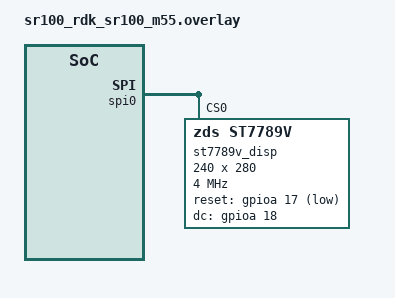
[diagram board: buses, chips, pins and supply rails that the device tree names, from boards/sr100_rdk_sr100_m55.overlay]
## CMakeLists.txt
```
cmake_minimum_required(VERSION 3.20.0)

# Custom "zds,st7789v" devicetree binding (same as Lab 11/12/13/14/15) --
# DTS_ROOT must be extended BEFORE find_package(Zephyr...) runs, or the
# devicetree compiler won't find it.
list(APPEND DTS_ROOT ${CMAKE_CURRENT_SOURCE_DIR})

find_package(Zephyr REQUIRED HINTS $ENV{ZEPHYR_BASE})
project(lab16_capstone_host)

target_sources(app PRIVATE src/main.c)
target_include_directories(app PRIVATE include)
```

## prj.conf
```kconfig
CONFIG_MBOX=y
CONFIG_SPI=y
CONFIG_GPIO=y
# No CONFIG_DISPLAY / CONFIG_CHARACTER_FRAMEBUFFER / CONFIG_ST7789V -- same
# raw-SPI approach as Lab 11/12/13/14/15 (see Lab 11's prj.conf comment).
CONFIG_MAIN_STACK_SIZE=4096
# ns16550_uart1 (M55's only UART/console) is disabled in the devicetree
# overlay because SPI0 reuses its pins -- see Lab 11's prj.conf comment
# for why CONFIG_UART_CONSOLE=n/CONFIG_CONSOLE=n (and NOT CONFIG_SERIAL=n)
# is the correct fix. M55 never sends console commands in this lab -- all
# operator commands are M4-local or M4-triggered (see remote/src/main.c).
CONFIG_UART_CONSOLE=n
CONFIG_CONSOLE=n
CONFIG_LOG=y
CONFIG_LOG_DEFAULT_LEVEL=3
CONFIG_PRINTK=y
```

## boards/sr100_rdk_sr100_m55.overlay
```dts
#include <zephyr/dt-bindings/gpio/gpio.h>

/* Lab 16 reuses this TFT wiring UNCHANGED from Lab 11/12/13/14/15 -- no new
 * hardware. M55's only job in this lab is drawing the combined ENV/MOTION/
 * WATCHDOG/STATUS state on the same ST7789V3 panel on SPI0. */

/* ipc0 shared-memory-size must match the M4 overlay in remote/boards/ exactly. */
&ipc0 {
	shared-memory-size = <0x400>;
};

/*
 * M4/M55 physically share the &i2c1 bus (mc3479, gpio_exp0). M4 owns it in
 * this lab (Motion_Task), so M55 disables it -- same reasoning as every
 * earlier lab since Lab 01.
 */
&i2c1 {
	status = "disabled";
};

&gpio_exp0 {
	status = "disabled";
};

&ov02c10 {
	status = "disabled";
};

/*
 * ST7789V3 1.69" 240x280 color TFT on M55's SPI0 -- identical setup to
 * Lab 11/12/13/14/15 (same panel, same wiring, same raw-SPI "zds,st7789v"
 * custom binding). See Lab 11's doc for the full rationale (why raw SPI
 * instead of Zephyr's in-tree display driver, the level-shifter
 * requirement, the SPI0 FIFO chunking, and the SPI0/UART1 console pin
 * conflict this creates).
 */
&ns16550_uart1 {
	status = "disabled";
};

&spi0 {
	#address-cells = <1>;
	#size-cells = <0>;
	status = "okay";
	pinctrl-0 = <&spi_mstr_mosi &spi_mstr_miso &spi_mstr_clk &spi_mstr_cs>;
	pinctrl-names = "default";

	st7789v_disp: st7789v@0 {
		compatible = "zds,st7789v";
		reg = <0>;
		spi-max-frequency = <4000000>;
		reset-gpios = <&gpioa 17 GPIO_ACTIVE_LOW>;  /* SoC GPIO17, J24 pin 3 - through level shifter */
		dc-gpios = <&gpioa 18 GPIO_ACTIVE_HIGH>;    /* SoC GPIO18, J24 pin 4 - through level shifter */
		width = <240>;
		height = <280>;
		x-offset = <0>;
		y-offset = <20>;
	};
};
```

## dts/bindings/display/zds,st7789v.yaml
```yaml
description: |
  ZDS custom binding for an ST7789V(3)-driven SPI TFT panel, talked to
  directly by application code (no Zephyr in-tree display driver is
  used). This node only exists so the panel's wiring (SPI bus/CS,
  reset pin, D/C pin) and panel geometry live in the devicetree where
  they belong, instead of being hardcoded in C.

compatible: "zds,st7789v"

include: spi-device.yaml

properties:
  reset-gpios:
    type: phandle-array
    required: true
    description: Panel RESET pin (active low - asserting it holds the
      controller in reset).

  dc-gpios:
    type: phandle-array
    required: true
    description: Data/Command select pin (active high = data byte(s)
      follow, inactive = command byte follows).

  width:
    type: int
    default: 240
    description: Visible panel width in pixels.

  height:
    type: int
    default: 280
    description: Visible panel height in pixels.

  x-offset:
    type: int
    default: 0
    description: Horizontal offset into the ST7789's native 240x320
      GRAM. Needed because many small ST7789 panels (this 1.69"
      240x280 module included) only use a centered sub-window of the
      controller's full addressable memory.

  y-offset:
    type: int
    default: 20
    description: Vertical offset into the ST7789's native 240x320
      GRAM. 20 is the commonly documented value for 1.69" 240x280
      ST7789V3 modules; adjust if your specific module's datasheet
      says otherwise.
```

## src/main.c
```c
/*
 * Lab 16: Capstone Gateway (HOST, M55)
 *
 * Same ST7789V3 TFT hardware/raw-SPI driver as Lab 11/12/13/14/15 -- see
 * this lab's doc for the full pin table and level-shifter rationale.
 *
 * A single Sync_Task both dispatches M4's tagged-union messages (updating
 * the TFT for IPC16_MSG_ENV / IPC16_MSG_MOTION / IPC16_MSG_STATUS) AND runs
 * a Lab-14-style watchdog state machine driven by IPC16_MSG_HEARTBEAT --
 * one thread, one queue, one blocking call handles all four message kinds.
 *
 * WHY A FINITE TIMEOUT HERE, NOT LAB 15's K_FOREVER: Lab 15's Sync_Task
 * blocked forever because that lab's M4 never sent anything unless a
 * threshold had actually crossed -- "no message" carried no meaning, so
 * there was nothing to watch a clock for. This lab is different: M4 sends
 * a heartbeat every 1000ms NO MATTER WHAT (Lab 14's pattern), specifically
 * so M55 CAN watch for its absence. So k_msgq_get() here uses a finite
 * timeout (WATCHDOG_CHECK_PERIOD_MS), exactly Lab 14's reasoning, and the
 * watchdog state machine (WD_WAITING -> WD_OK -> WD_TIMEOUT) is otherwise
 * unchanged from that lab.
 *
 * TRADEOFF WORTH NAMING: this means M55 in this lab does NOT get to sit in
 * Lab 15's deepest "sleep until something happens" wait -- it wakes at
 * least every WATCHDOG_CHECK_PERIOD_MS to check the clock, even during
 * long stretches when nothing else changes. That is the price of adding a
 * safety-supervision heartbeat on top of Lab 15's event-only design: this
 * lab intentionally makes that price visible instead of hiding it, and
 * that tradeoff (deepest possible idle vs. bounded-latency fault
 * detection) is itself one of this capstone's teaching points.
 */

#include <zephyr/kernel.h>
#include <zephyr/device.h>
#include <zephyr/devicetree.h>
#include <zephyr/drivers/spi.h>
#include <zephyr/drivers/gpio.h>
#include <zephyr/drivers/mbox.h>
#include <zephyr/logging/log.h>
#include <zephyr/sys/util.h>
#include <stdbool.h>
#include <stdio.h>
#include <stdlib.h>
#include <string.h>
#include "ipc_common.h"

LOG_MODULE_REGISTER(lab16_host, CONFIG_LOG_DEFAULT_LEVEL);

#define TASK_STACK_SIZE 3072
#define TASK_PRIORITY   4

K_THREAD_STACK_DEFINE(task_stack, TASK_STACK_SIZE);
static struct k_thread task_data;

K_MSGQ_DEFINE(msgq, sizeof(struct ipc16_msg), 8, 4);

/* Heartbeat every 1000ms (see remote/src/main.c). Check twice as often as
 * that so a timeout is detected within one heartbeat period on average,
 * and declare a timeout only after >= 4 heartbeat periods of silence, so a
 * single missed/delayed beacon doesn't false-trip -- same margin ratio as
 * Lab 14 (200ms check / 1200ms timeout against a 300ms heartbeat). */
#define WATCHDOG_CHECK_PERIOD_MS 500
#define WATCHDOG_TIMEOUT_MS      4000

enum wd_state { WD_WAITING, WD_OK, WD_TIMEOUT };

#define DISP_NODE DT_NODELABEL(st7789v_disp)

#define PANEL_WIDTH   DT_PROP(DISP_NODE, width)
#define PANEL_HEIGHT  DT_PROP(DISP_NODE, height)
#define X_OFFSET      DT_PROP(DISP_NODE, x_offset)
#define Y_OFFSET      DT_PROP(DISP_NODE, y_offset)

#define ST7789_SWRESET   0x01
#define ST7789_SLPOUT    0x11
#define ST7789_COLMOD    0x3A
#define ST7789_MADCTL    0x36
#define ST7789_INVON     0x21
#define ST7789_NORON     0x13
#define ST7789_DISPON    0x29
#define ST7789_CASET     0x2A
#define ST7789_RASET     0x2B
#define ST7789_RAMWR     0x2C
#define ST7789_PORCTRL   0xB2
#define ST7789_GCTRL     0xB7
#define ST7789_VCOMS     0xBB
#define ST7789_LCMCTRL   0xC0
#define ST7789_VDVVRHEN  0xC2
#define ST7789_VRHS      0xC3
#define ST7789_VDVS      0xC4
#define ST7789_FRCTRL2   0xC6
#define ST7789_PWCTRL1   0xD0
#define ST7789_PVGAMCTRL 0xE0
#define ST7789_NVGAMCTRL 0xE1

#define COLOR_BLACK   0x0000
#define COLOR_WHITE   0xFFFF
#define COLOR_RED     0xF800
#define COLOR_GREEN   0x07E0
#define COLOR_YELLOW  0xFFE0
#define COLOR_GRAY    0x8410
#define COLOR_ORANGE  0xFD20

static const struct spi_dt_spec spi_spec =
	SPI_DT_SPEC_GET(DISP_NODE, SPI_WORD_SET(8) | SPI_TRANSFER_MSB, 0);
static const struct gpio_dt_spec reset_spec = GPIO_DT_SPEC_GET(DISP_NODE, reset_gpios);
static const struct gpio_dt_spec dc_spec = GPIO_DT_SPEC_GET(DISP_NODE, dc_gpios);

struct glyph {
	char ch;
	uint8_t cols[5];
};

/* Same 5x7 font table as Lab 11/12/13/14/15 -- unchanged. */
static const struct glyph font5x7[] = {
	{' ', {0x00, 0x00, 0x00, 0x00, 0x00}},
	{'-', {0x08, 0x08, 0x08, 0x08, 0x08}},
	{'.', {0x00, 0x60, 0x60, 0x00, 0x00}},
	{':', {0x00, 0x36, 0x36, 0x00, 0x00}},
	{'(', {0x00, 0x1C, 0x22, 0x41, 0x00}},
	{')', {0x00, 0x41, 0x22, 0x1C, 0x00}},
	{'0', {0x3E, 0x51, 0x49, 0x45, 0x3E}},
	{'1', {0x00, 0x42, 0x7F, 0x40, 0x00}},
	{'2', {0x62, 0x51, 0x49, 0x49, 0x46}},
	{'3', {0x22, 0x41, 0x49, 0x49, 0x36}},
	{'4', {0x18, 0x14, 0x12, 0x7F, 0x10}},
	{'5', {0x27, 0x45, 0x45, 0x45, 0x39}},
	{'6', {0x3C, 0x4A, 0x49, 0x49, 0x30}},
	{'7', {0x01, 0x71, 0x09, 0x05, 0x03}},
	{'8', {0x36, 0x49, 0x49, 0x49, 0x36}},
	{'9', {0x06, 0x49, 0x49, 0x29, 0x1E}},
	{'A', {0x7E, 0x11, 0x11, 0x11, 0x7E}},
	{'B', {0x7F, 0x49, 0x49, 0x49, 0x36}},
	{'C', {0x3E, 0x41, 0x41, 0x41, 0x22}},
	{'D', {0x7F, 0x41, 0x41, 0x22, 0x1C}},
	{'E', {0x7F, 0x49, 0x49, 0x49, 0x41}},
	{'G', {0x3E, 0x41, 0x49, 0x49, 0x7A}},
	{'H', {0x7F, 0x08, 0x08, 0x08, 0x7F}},
	{'I', {0x00, 0x41, 0x7F, 0x41, 0x00}},
	{'K', {0x7F, 0x08, 0x14, 0x22, 0x41}},
	{'L', {0x7F, 0x40, 0x40, 0x40, 0x40}},
	{'M', {0x7F, 0x02, 0x0C, 0x02, 0x7F}},
	{'N', {0x7F, 0x02, 0x04, 0x08, 0x7F}},
	{'O', {0x3E, 0x41, 0x41, 0x41, 0x3E}},
	{'P', {0x7F, 0x09, 0x09, 0x09, 0x06}},
	{'Q', {0x3E, 0x41, 0x51, 0x21, 0x5E}},
	{'R', {0x7F, 0x09, 0x19, 0x29, 0x46}},
	{'S', {0x46, 0x49, 0x49, 0x49, 0x31}},
	{'T', {0x01, 0x01, 0x7F, 0x01, 0x01}},
	{'U', {0x3F, 0x40, 0x40, 0x40, 0x3F}},
	{'V', {0x1F, 0x20, 0x40, 0x20, 0x1F}},
	{'W', {0x3F, 0x40, 0x38, 0x40, 0x3F}},
	{'X', {0x63, 0x14, 0x08, 0x14, 0x63}},
	{'Y', {0x07, 0x08, 0x70, 0x08, 0x07}},
	{'Z', {0x61, 0x51, 0x49, 0x45, 0x43}},
};

static const uint8_t *glyph_lookup(char c)
{
	static const uint8_t blank[5] = {0x00, 0x00, 0x00, 0x00, 0x00};

	for (size_t i = 0; i < ARRAY_SIZE(font5x7); i++) {
		if (font5x7[i].ch == c) {
			return font5x7[i].cols;
		}
	}
	return blank;
}

#define ST7789_CHUNK_BYTES 8

static int st7789_send(int dc_value, const uint8_t *data, size_t len)
{
	int ret;

	gpio_pin_set_dt(&dc_spec, dc_value);

	while (len) {
		size_t chunk = MIN(len, ST7789_CHUNK_BYTES);
		struct spi_buf buf = { .buf = (void *)data, .len = chunk };
		struct spi_buf_set set = { .buffers = &buf, .count = 1 };

		ret = spi_write_dt(&spi_spec, &set);
		if (ret) {
			LOG_ERR("spi_write_dt(dc=%d, len=%zu) failed, ret=%d", dc_value, chunk, ret);
			return ret;
		}
		data += chunk;
		len -= chunk;
	}

	return 0;
}

static int st7789_write_cmd(uint8_t cmd)
{
	return st7789_send(0, &cmd, 1);
}

static int st7789_write_data(const uint8_t *data, size_t len)
{
	return st7789_send(1, data, len);
}

static int st7789_reset(void)
{
	int ret = gpio_pin_configure_dt(&reset_spec, GPIO_OUTPUT_INACTIVE);

	if (ret) {
		return ret;
	}
	k_sleep(K_MSEC(10));
	gpio_pin_set_dt(&reset_spec, 1);
	k_sleep(K_MSEC(10));
	gpio_pin_set_dt(&reset_spec, 0);
	k_sleep(K_MSEC(150));

	return 0;
}

struct st7789_init_cmd {
	uint8_t cmd;
	uint8_t num_args;
	uint8_t args[16];
	uint16_t delay_ms;
};

static const struct st7789_init_cmd init_seq[] = {
	{ ST7789_SWRESET,   0, {0}, 150 },
	{ ST7789_SLPOUT,    0, {0}, 255 },
	{ ST7789_COLMOD,    1, {0x55}, 10 },
	{ ST7789_PORCTRL,   5, {0x0C, 0x0C, 0x00, 0x33, 0x33}, 0 },
	{ ST7789_GCTRL,     1, {0x35}, 0 },
	{ ST7789_VCOMS,     1, {0x28}, 0 },
	{ ST7789_LCMCTRL,   1, {0x0C}, 0 },
	{ ST7789_VDVVRHEN,  2, {0x01, 0xFF}, 0 },
	{ ST7789_VRHS,      1, {0x10}, 0 },
	{ ST7789_VDVS,      1, {0x20}, 0 },
	{ ST7789_FRCTRL2,   1, {0x0F}, 0 },
	{ ST7789_PWCTRL1,   2, {0xA4, 0xA1}, 0 },
	{ ST7789_MADCTL,    1, {0x00}, 0 },
	{ ST7789_INVON,     0, {0}, 10 },
	{ ST7789_PVGAMCTRL, 14, {0xD0, 0x00, 0x02, 0x07, 0x0A, 0x28, 0x32, 0x44,
				 0x42, 0x06, 0x0E, 0x12, 0x14, 0x17}, 0 },
	{ ST7789_NVGAMCTRL, 14, {0xD0, 0x00, 0x02, 0x07, 0x05, 0x25, 0x2D, 0x44,
				 0x45, 0x10, 0x0E, 0x12, 0x13, 0x17}, 0 },
	{ ST7789_NORON,     0, {0}, 10 },
	{ ST7789_DISPON,    0, {0}, 100 },
};

static int st7789_init(void)
{
	int ret;

	for (size_t i = 0; i < ARRAY_SIZE(init_seq); i++) {
		ret = st7789_write_cmd(init_seq[i].cmd);
		if (ret) return ret;

		if (init_seq[i].num_args) {
			ret = st7789_write_data(init_seq[i].args, init_seq[i].num_args);
			if (ret) return ret;
		}
		if (init_seq[i].delay_ms) {
			k_sleep(K_MSEC(init_seq[i].delay_ms));
		}
	}

	return 0;
}

static int st7789_set_addr_window(uint16_t x0, uint16_t y0, uint16_t x1, uint16_t y1)
{
	uint16_t xs = x0 + X_OFFSET, xe = x1 + X_OFFSET;
	uint16_t ys = y0 + Y_OFFSET, ye = y1 + Y_OFFSET;
	uint8_t caset[4] = { xs >> 8, xs & 0xFF, xe >> 8, xe & 0xFF };
	uint8_t raset[4] = { ys >> 8, ys & 0xFF, ye >> 8, ye & 0xFF };
	int ret;

	ret = st7789_write_cmd(ST7789_CASET);
	if (ret) return ret;
	ret = st7789_write_data(caset, sizeof(caset));
	if (ret) return ret;

	ret = st7789_write_cmd(ST7789_RASET);
	if (ret) return ret;
	ret = st7789_write_data(raset, sizeof(raset));
	if (ret) return ret;

	return st7789_write_cmd(ST7789_RAMWR);
}

static int st7789_fill_rect(uint16_t x, uint16_t y, uint16_t w, uint16_t h, uint16_t color)
{
	uint8_t row[PANEL_WIDTH * 2];
	int ret;

	ret = st7789_set_addr_window(x, y, x + w - 1, y + h - 1);
	if (ret) return ret;

	for (uint16_t i = 0; i < w; i++) {
		row[i * 2] = color >> 8;
		row[i * 2 + 1] = color & 0xFF;
	}

	for (uint16_t line = 0; line < h; line++) {
		ret = st7789_write_data(row, (size_t)w * 2);
		if (ret) return ret;
	}

	return 0;
}

static int st7789_draw_char(uint16_t x, uint16_t y, char c, uint16_t fg, uint16_t bg, uint8_t scale)
{
	const uint8_t *glyph = glyph_lookup(c);
	uint8_t row[5 * 8 * 2];
	int ret;

	ret = st7789_set_addr_window(x, y, x + 5 * scale - 1, y + 7 * scale - 1);
	if (ret) return ret;

	for (uint8_t srow = 0; srow < 7; srow++) {
		for (uint8_t scol = 0; scol < 5; scol++) {
			bool on = (glyph[scol] >> srow) & 0x1;
			uint16_t color = on ? fg : bg;

			for (uint8_t sx = 0; sx < scale; sx++) {
				size_t idx = (scol * scale + sx) * 2;

				row[idx] = color >> 8;
				row[idx + 1] = color & 0xFF;
			}
		}
		for (uint8_t sy = 0; sy < scale; sy++) {
			ret = st7789_write_data(row, (size_t)5 * scale * 2);
			if (ret) return ret;
		}
	}

	return 0;
}

static int st7789_draw_string(uint16_t x, uint16_t y, const char *str, uint16_t fg, uint16_t bg, uint8_t scale)
{
	int ret;

	while (*str) {
		ret = st7789_draw_char(x, y, *str++, fg, bg, scale);
		if (ret) return ret;
		x += 6 * scale;
	}
	return 0;
}

static void draw_line(uint16_t x, uint16_t y, const char *text, uint16_t fg, size_t width)
{
	char padded[24];
	size_t len = strlen(text);

	if (width >= sizeof(padded)) {
		width = sizeof(padded) - 1;
	}
	if (len > width) {
		len = width;
	}
	memcpy(padded, text, len);
	for (size_t i = len; i < width; i++) {
		padded[i] = ' ';
	}
	padded[width] = '\0';

	st7789_draw_string(x, y, padded, fg, COLOR_BLACK, 2);
}

static void draw_badge(uint16_t y, uint16_t color, const char *label)
{
	st7789_fill_rect(10, y, 16, 16, color);
	draw_line(34, y, label, COLOR_WHITE, 10);
}

/* ------------------------------------------------------------- sync task */

static void rx_cb(const struct device *dev, mbox_channel_id_t channel_id,
		   void *user_data, struct mbox_msg *data)
{
	struct ipc16_msg msg;

	ARG_UNUSED(dev);
	ARG_UNUSED(channel_id);
	ARG_UNUSED(user_data);

	if (data->size < sizeof(msg)) {
		return;
	}
	memcpy(&msg, data->data, sizeof(msg));

	/* ISR-safe: pure memcpy + k_msgq_put, no drawing here -- same rule as
	 * every mbox callback in this curriculum since Lab 01. */
	k_msgq_put(&msgq, &msg, K_NO_WAIT);
}

static void redraw_watchdog(enum wd_state state, uint32_t trips)
{
	char line[24];

	switch (state) {
	case WD_WAITING:
		draw_badge(180, COLOR_GRAY, "WAIT");
		break;
	case WD_OK:
		draw_badge(180, COLOR_GREEN, "OK");
		break;
	case WD_TIMEOUT:
		draw_badge(180, COLOR_RED, "TIMEOUT");
		break;
	}
	snprintf(line, sizeof(line), "TRIPS:%u", trips);
	draw_line(10, 210, line, COLOR_WHITE, 14);
}

static void sync_task_entry(void *p1, void *p2, void *p3)
{
	struct ipc16_msg msg;
	char line[24];
	enum wd_state wd_state = WD_WAITING;
	uint32_t wd_trips = 0;
	bool wd_ever_seen = false;
	int64_t wd_last_seen_ms = 0;
	uint32_t status_pushes = 0;

	ARG_UNUSED(p1);
	ARG_UNUSED(p2);
	ARG_UNUSED(p3);

	LOG_INF("[Sync_Task] started");

	if (!spi_is_ready_dt(&spi_spec)) {
		LOG_ERR("SPI0 device not ready - check devicetree status/overlay");
		return;
	}
	if (!gpio_is_ready_dt(&reset_spec) || !gpio_is_ready_dt(&dc_spec)) {
		LOG_ERR("RST/DC GPIO controller not ready");
		return;
	}
	if (gpio_pin_configure_dt(&dc_spec, GPIO_OUTPUT_INACTIVE)) {
		LOG_ERR("DC GPIO configure failed");
		return;
	}
	if (st7789_reset()) {
		LOG_ERR("Panel reset failed - check RST wiring");
		return;
	}
	if (st7789_init()) {
		LOG_ERR("ST7789 init failed (SPI write error) - check wiring / level shifter");
		return;
	}

	st7789_fill_rect(0, 0, PANEL_WIDTH, PANEL_HEIGHT, COLOR_BLACK);
	st7789_draw_string(10, 10, "LAB16 CAPSTONE", COLOR_YELLOW, COLOR_BLACK, 2);

	draw_badge(40, COLOR_GRAY, "ENV --");
	draw_line(10, 70, "TEMP:--", COLOR_WHITE, 14);
	draw_badge(100, COLOR_GRAY, "MOTION --");
	draw_line(10, 130, "MAG:--", COLOR_WHITE, 14);
	draw_line(10, 155, "STATUS:none yet", COLOR_WHITE, 20);
	redraw_watchdog(WD_WAITING, 0);

	while (1) {
		/* Finite timeout (see file header comment) -- unlike Lab 15's
		 * K_FOREVER, this lab's M4 sends a heartbeat unconditionally
		 * every 1000ms, so "no message for a while" is meaningful
		 * here and must be actively checked for. */
		int ret = k_msgq_get(&msgq, &msg, K_MSEC(WATCHDOG_CHECK_PERIOD_MS));

		if (ret == 0) {
			switch (msg.type) {
			case IPC16_MSG_ENV: {
				struct ipc16_env_payload *e = &msg.payload.env;
				bool err = e->error_mask != 0;
				uint16_t badge_color = err ? COLOR_ORANGE :
					(e->state == IPC16_ENV_ABOVE ? COLOR_RED : COLOR_GREEN);

				draw_badge(40, badge_color,
					   e->state == IPC16_ENV_ABOVE ? "ENV HIGH" : "ENV OK");
				snprintf(line, sizeof(line), "TEMP:%d.%02dC%s",
					 e->temp_milli_c / 1000, abs(e->temp_milli_c % 1000) / 10,
					 e->from_bmp ? "(bmp)" : "");
				draw_line(10, 70, line, COLOR_WHITE, 14);
				LOG_INF("[Sync_Task] ENV seq=%u temp=%d state=%s err=0x%x",
					e->seq, e->temp_milli_c,
					e->state == IPC16_ENV_ABOVE ? "ABOVE" : "BELOW", e->error_mask);
				break;
			}
			case IPC16_MSG_MOTION: {
				struct ipc16_motion_payload *m = &msg.payload.motion;

				draw_badge(100, m->state == IPC16_MOTION_ACTIVE ? COLOR_RED : COLOR_GREEN,
					   m->state == IPC16_MOTION_ACTIVE ? "MOTION!" : "MOTION OK");
				snprintf(line, sizeof(line), "MAG:%d mg", m->mag_milli_g);
				draw_line(10, 130, line, COLOR_WHITE, 14);
				LOG_INF("[Sync_Task] MOTION seq=%u mag=%d state=%s",
					m->seq, m->mag_milli_g,
					m->state == IPC16_MOTION_ACTIVE ? "ACTIVE" : "QUIET");
				break;
			}
			case IPC16_MSG_HEARTBEAT:
				wd_ever_seen = true;
				wd_last_seen_ms = k_uptime_get();
				if (wd_state != WD_OK) {
					wd_state = WD_OK;
					redraw_watchdog(wd_state, wd_trips);
				}
				LOG_INF("[Sync_Task] HEARTBEAT seq=%u", msg.payload.heartbeat.seq);
				break;
			case IPC16_MSG_STATUS: {
				struct ipc16_status_payload *s = &msg.payload.status;

				status_pushes++;
				snprintf(line, sizeof(line), "STATUS:#%u up=%us",
					 status_pushes, s->uptime_sec);
				draw_line(10, 155, line, COLOR_YELLOW, 20);
				LOG_INF("[Sync_Task] STATUS #%u temp=%d%s env=%s mag=%d motion=%s "
					"hb_seq=%u uptime=%us",
					status_pushes, s->temp_milli_c, s->from_bmp ? "(bmp)" : "",
					s->env_state == IPC16_ENV_ABOVE ? "ABOVE" : "BELOW",
					s->mag_milli_g,
					s->motion_state == IPC16_MOTION_ACTIVE ? "ACTIVE" : "QUIET",
					s->heartbeat_seq, s->uptime_sec);
				break;
			}
			default:
				LOG_WRN("[Sync_Task] unexpected msg type=%u", msg.type);
				break;
			}
			continue;
		}

		/* Timed out waiting for ANY message -- check specifically
		 * whether the heartbeat has gone silent too long (Lab 14's
		 * watchdog state machine, unchanged). An ENV/MOTION/STATUS
		 * message arriving does NOT reset this timer by itself --
		 * only a HEARTBEAT does, since heartbeat presence is what
		 * this watchdog actually measures. */
		if (wd_ever_seen && wd_state == WD_OK &&
		    (k_uptime_get() - wd_last_seen_ms) >= WATCHDOG_TIMEOUT_MS) {
			wd_state = WD_TIMEOUT;
			wd_trips++;
			redraw_watchdog(wd_state, wd_trips);
			LOG_WRN("[Sync_Task] watchdog TIMEOUT, trips=%u", wd_trips);
		}
	}
}

int main(void)
{
	struct mbox_dt_spec rx_channel;

	LOG_INF("Lab16 Capstone Gateway HOST - %s", CONFIG_BOARD_TARGET);

	/* Only rx is needed -- M55 never sends anything to M4 in this lab. */
	rx_channel = (struct mbox_dt_spec)MBOX_DT_SPEC_GET(DT_PATH(mbox_consumer), rx);

	if (mbox_register_callback_dt(&rx_channel, rx_cb, NULL)) {
		LOG_ERR("mbox_register_callback() failed");
		return -EIO;
	}
	if (mbox_set_enabled_dt(&rx_channel, 1)) {
		LOG_ERR("mbox_set_enabled() failed");
		return -EIO;
	}

	k_thread_create(&task_data, task_stack, K_THREAD_STACK_SIZEOF(task_stack),
			sync_task_entry, NULL, NULL, NULL, TASK_PRIORITY, 0, K_NO_WAIT);
	k_thread_name_set(&task_data, "Sync_Task");

	while (1) {
		k_sleep(K_FOREVER);
	}
	return 0;
}
```

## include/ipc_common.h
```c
#include <zephyr/sys/util.h>

/*
 * Lab 16: Capstone Gateway -- shared M4<->M55 message protocol.
 *
 * A single tagged union multiplexes every message type this lab's M4 sends
 * to M55 over one mbox tx/rx channel pair (same envelope-with-type-tag
 * pattern as Lab 06/13, needed here because -- unlike Lab 14/15, which each
 * carried exactly one message kind and so needed no tag at all -- this lab
 * genuinely multiplexes four different message kinds on one channel):
 *
 *   IPC16_MSG_ENV       -- AHT20+BMP280 threshold-crossing event. Reuses
 *                          Lab 12's raw-I2C dual-sensor driver (AHT20
 *                          primary, BMP280 temperature as fallback, a
 *                          per-sensor error_mask, and active bus/sensor
 *                          recovery after repeated failures), but -- like
 *                          Lab 15, not Lab 12/13 -- sends only on an actual
 *                          state change (threshold crossing) or an
 *                          error_mask change, never on a fixed period.
 *   IPC16_MSG_MOTION    -- accelerometer threshold-crossing event. Reuses
 *                          Lab 10's baseline-calibrated deviation check and
 *                          debounce, sent only on a state change (the same
 *                          state-change-only discipline as IPC16_MSG_ENV).
 *   IPC16_MSG_HEARTBEAT -- periodic liveness beacon, exactly Lab 14's
 *                          pattern (M55 watches for its ABSENCE with a
 *                          finite k_msgq_get() timeout).
 *   IPC16_MSG_STATUS    -- an on-demand full snapshot. Unlike the other
 *                          three (which M4 decides on its own to send),
 *                          this one only goes out when the operator types
 *                          command "4" into M4's console -- see this lab's
 *                          doc for why "should this command reach the
 *                          other core" is a per-command decision (a Lab 13
 *                          principle), not an all-or-nothing rule for the
 *                          whole lab.
 */

#ifndef IPC_COMMON_H_
#define IPC_COMMON_H_

#include <stdint.h>

enum ipc16_msg_type {
	IPC16_MSG_ENV = 0,
	IPC16_MSG_MOTION,
	IPC16_MSG_HEARTBEAT,
	IPC16_MSG_STATUS,
};

enum ipc16_env_state {
	IPC16_ENV_BELOW = 0,
	IPC16_ENV_ABOVE,
};

enum ipc16_motion_state {
	IPC16_MOTION_QUIET = 0,
	IPC16_MOTION_ACTIVE,
};

/* error_mask bits -- which sensor(s) failed THIS tick. Independent of
 * env_state (a threshold reading can be perfectly valid while the OTHER
 * sensor is down) -- see this lab's doc for the "two independent fault
 * indicators" principle carried over from Lab 12. */
#define IPC16_ENV_ERROR_AHT20  BIT(0)
#define IPC16_ENV_ERROR_BMP280 BIT(1)

struct ipc16_env_payload {
	int32_t temp_milli_c;
	int32_t humidity_milli_pct; /* 0 if this reading has no humidity (BMP280-only fallback) */
	uint8_t from_bmp;           /* 1 if temp_milli_c came from BMP280, not AHT20 */
	uint8_t state;               /* enum ipc16_env_state */
	uint8_t error_mask;          /* IPC16_ENV_ERROR_* bitmask, this tick only */
	uint32_t seq;
};

struct ipc16_motion_payload {
	int32_t mag_milli_g; /* |dev_x|+|dev_y|+|dev_z| from the boot-time baseline */
	uint8_t state;         /* enum ipc16_motion_state */
	uint32_t seq;
};

struct ipc16_heartbeat_payload {
	uint32_t seq;
};

struct ipc16_status_payload {
	int32_t temp_milli_c;
	int32_t humidity_milli_pct;
	uint8_t from_bmp;
	uint8_t env_state;
	uint8_t env_error_mask;
	int32_t mag_milli_g;
	uint8_t motion_state;
	uint32_t heartbeat_seq;
	uint32_t uptime_sec;
};

struct ipc16_msg {
	uint8_t type; /* enum ipc16_msg_type */
	union {
		struct ipc16_env_payload env;
		struct ipc16_motion_payload motion;
		struct ipc16_heartbeat_payload heartbeat;
		struct ipc16_status_payload status;
	} payload;
};

#endif /* IPC_COMMON_H_ */
```
